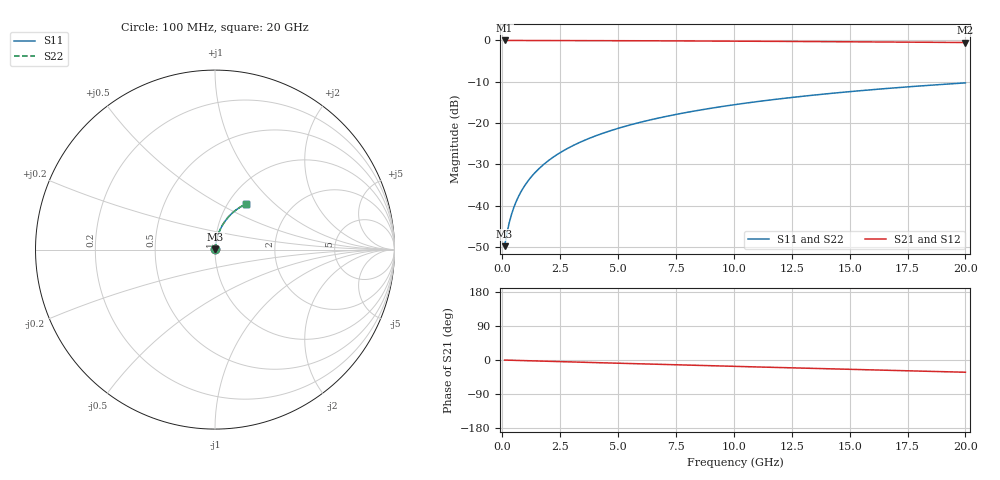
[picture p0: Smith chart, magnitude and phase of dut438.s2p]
! Touchstone file exported from HFSS 2026.1.0
!  File:  C:/ffzhzh/LocalFiles/Ansys_Project_Files/temp_train_TMRDL_438_1783005594_53980.aedt
!  Generated:  11:21:13 PM Jul  2, 2026
!  Design:  TMRDL
!  Project:  temp_train_TMRDL_438_1783005594_53980
! Variables:
!  h_bsmrdl = 2um
!  h_ox = 20um
!  h_rdl = 5um
!  h_sub = 80um
!  h_tmrdl = 3.94um
!  h_tsv = 80um
!  h_via = 3um
!  l_bsmrdl = 300um
!  l_sub = 861.99um
!  l_tmrdl = 461.99um
!  m_sub = 200um
!  pitch = 38.84um
!  r_tsv = 6um
!  s_tmrdl = 10um
!  w_bsmrdl = 18um
!  w_sub = 500um
!  w_tmrdl = 16.68um
!  x_tsv_center1 = 470.33um
!  x_tsv_center2 = 788.33um
!  x_tsv_center3 = 1267um
!  x_tsv_center4 = 1585um
!  x_tsv_center5 = 2063.67um
!  x_tsv_center6 = 2381.67um
# GHz S MA R 50.000000
! Terminal data exported
! Port[1] = TM_RDL1_1_T1
! Port[2] = TM_RDL1_1_T2
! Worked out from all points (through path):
!   200 points, 100 MHz to 20 GHz, reference 50 ohm
!   highest |S21| = -0.02 dB at 100 MHz (marker M1); lowest = -0.5 dB at 20 GHz (marker M2)
!   group delay of S21, straight-line fit = 4.48 ps
!   lowest |S11| = -49.8 dB at 100 MHz (marker M3), VSWR 1.01, Z = 50.3 + j0.191 ohm
!   |S11| at or under -10 dB: start of sweep to end of sweep
!   |S22| runs from -49.8 to -10.3 dB; largest |S21 - S12| = 2.7e-15
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0.1  0.00325 35.7  0.9974 -0.2  0.9974 -0.2  0.00325 35.7
! Gamma 0 0 0 0
! Port Impedance 50 0 50 0
0.2  0.004651 53.8  0.9973 -0.4  0.9973 -0.4  0.004651 53.8
0.3  0.006256 62.6  0.9972 -0.5  0.9972 -0.5  0.006256 62.6
0.4  0.00791 67.6  0.997 -0.7  0.997 -0.7  0.00791 67.6
0.5  0.009582 70.8  0.997 -0.9  0.997 -0.9  0.009581 70.8
0.6  0.01126 73.1  0.9969 -1.0  0.9969 -1.0  0.01126 73.1
0.8  0.01465 76.1  0.9967 -1.4  0.9967 -1.4  0.01465 76.1
1.1  0.01978 78.6  0.9966 -1.9  0.9966 -1.9  0.01978 78.6
1.3  0.02322 79.5  0.9964 -2.2  0.9964 -2.2  0.02322 79.5
1.6  0.0284 80.3  0.9962 -2.8  0.9962 -2.8  0.0284 80.3
2.1  0.03704 80.8  0.9957 -3.6  0.9957 -3.6  0.03703 80.8
2.7  0.04737 80.7  0.9951 -4.6  0.9951 -4.6  0.04737 80.7
3.5  0.06107 80.0  0.9939 -6.0  0.9939 -6.0  0.06107 80.1
4.2  0.07294 79.2  0.9928 -7.2  0.9928 -7.2  0.07294 79.2
5  0.08636 78.2  0.9912 -8.5  0.9912 -8.5  0.08636 78.2
5.9  0.1013 76.9  0.9893 -10.0  0.9893 -10.0  0.1013 76.9
6.8  0.116 75.5  0.9872 -11.5  0.9872 -11.5  0.116 75.5
8.3  0.14 73.3  0.9834 -14.0  0.9834 -14.0  0.14 73.3
10.1  0.168 70.5  0.9782 -16.9  0.9782 -16.9  0.168 70.5
13.4  0.2172 65.5  0.9674 -22.1  0.9674 -22.1  0.2172 65.6
16.7  0.2633 60.6  0.9551 -27.3  0.9551 -27.3  0.2633 60.7
20  0.306 55.8  0.9418 -32.3  0.9418 -32.3  0.306 55.8
